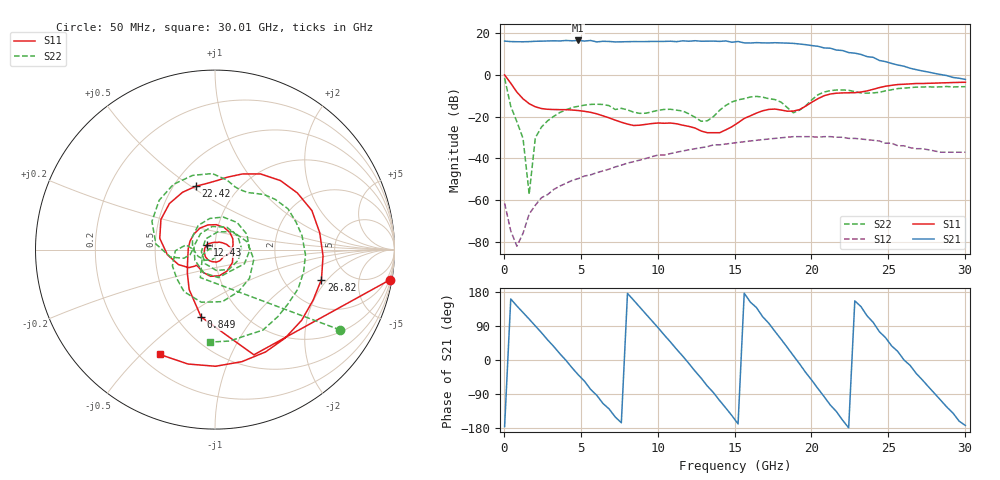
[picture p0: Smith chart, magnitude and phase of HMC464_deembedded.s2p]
!Hittite Microwave Corporation
!12 Elizabeth Drive
!Chelmsford, MA 01824
!Tel: 978-250-3343
!Fax: 978-250-3373
!Device: HMC464, 2-20 GHz, GaAs PHEMT MMIC Driver Amlifier Die
!Misc: Vdd = 8V, Vgg2 = 3V, Idd = 290 mA, Data includes (two) K connectors, Room
# MHZ S MA R 50
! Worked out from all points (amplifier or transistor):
!   76 points, 50 MHz to 30.01 GHz, reference 50 ohm
!   highest |S21| = 16.4 dB at 4.844 GHz (marker M1)
!   |S21| within 3 dB of that: start of sweep to 20.53 GHz
!   unconditionally stable (mu >= 1): 65.62 MHz to end of sweep
!   at 4.844 GHz: K = 21.98, MAG = 16.6 dB, |S12| = -49.7 dB
!   at 15.23 GHz: K = 3.20, MAG = 16.2 dB, |S12| = -32.4 dB
!   at 30.01 GHz: K = 18.89, MAG = 1.6 dB, |S12| = -37.1 dB
!   S11 on the Smith chart (normalised r, x): 50 MHz: 1, -12; 849 MHz: 0.66, -0.58; 12.43 GHz: 0.91, +0.05; 22.42 GHz: 0.64, +0.53; 26.82 GHz: 3.21, -1.72; 30.01 GHz: 0.28, -0.57
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50  0.988 -9.9  6.361 -175.7  0.0008436 175.6  0.829 -32.7
849  0.383 -101.7  6.142 142.5  7.94e-05 -40.9  0.075 -157.5
2447  0.155 -167.3  6.339 72.1  0.001145 76.8  0.056 -103.0
3645.5  0.146 143.6  6.409 16.4  0.002177 24.3  0.125 176.7
4844  0.139 86.8  6.589 -39.3  0.003284 -19.7  0.176 99.5
5243.5  0.133 67.2  6.381 -55.8  0.003776 -33.9  0.187 75.8
6442  0.104 14.4  6.288 -114.6  0.004997 -78.2  0.194 -0.8
7640.5  0.073 -24.3  6.111 -165.6  0.006857 -125.6  0.157 -83.0
8839  0.062 -46.5  6.187 139.5  0.009071 -176.8  0.119 170.6
10037.5  0.07 -83.5  6.241 84.9  0.012 130.5  0.141 62.1
11635.5  0.062 -165.3  6.454 10.0  0.015 60.2  0.135 -55.5
12434.5  0.053 148.3  6.497 -29.4  0.017 24.4  0.096 -124.9
13633  0.041 88.5  6.362 -86.2  0.021 -30.1  0.1 81.2
15231  0.071 24.0  6.232 -168.7  0.024 -101.7  0.25 -39.8
16429.5  0.121 -36.6  5.848 138.2  0.027 -157.0  0.303 -104.6
17628  0.151 -99.6  5.817 75.6  0.03 148.2  0.254 -159.2
18826.5  0.135 -139.9  5.606 11.6  0.033 88.3  0.123 178.9
20025  0.22 -157.7  4.968 -53.5  0.033 27.6  0.251 -170.4
22422  0.369 106.6  3.379 -179.0  0.03 -90.9  0.424 92.0
25218.5  0.557 34.5  1.857 37.1  0.023 138.6  0.437 39.8
26816.5  0.616 -15.7  1.321 -35.5  0.017 71.6  0.505 -3.3
30012.5  0.66 -117.7  0.77 -172.7  0.014 -56.0  0.516 -93.4
